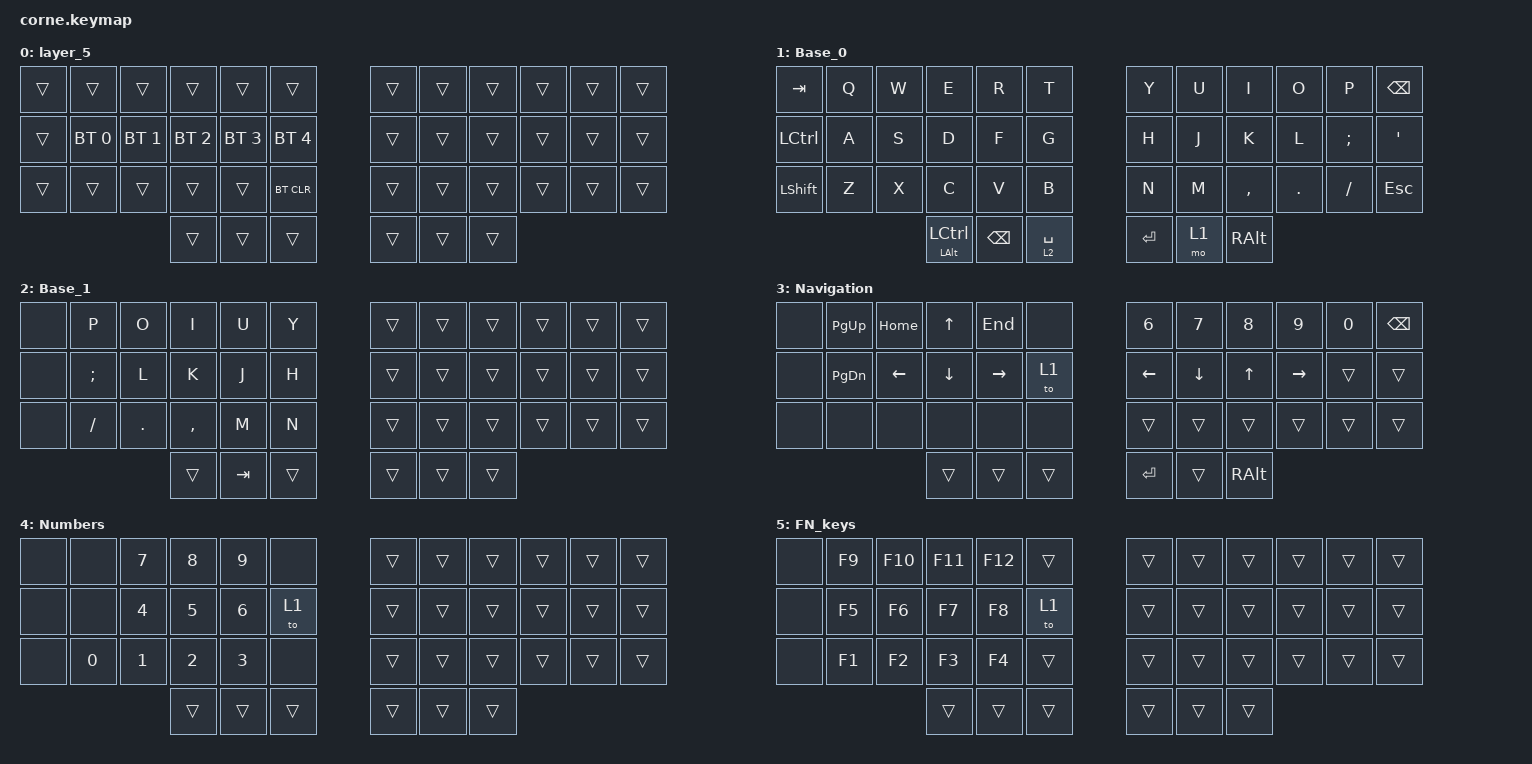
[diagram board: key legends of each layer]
/*
 * Copyright (c) 2020 The ZMK Contributors
 *
 * SPDX-License-Identifier: MIT
 */

#include <behaviors.dtsi>
#include <dt-bindings/zmk/bt.h>
#include <dt-bindings/zmk/keys.h>

/ {
    combos {
        compatible = "zmk,combos";

        new_combo1 {
            bindings = <&kp ENTER>;
            key-positions = <14 15>;
        };

        new_combo2 {
            bindings = <&sk LEFT_SHIFT>;
            key-positions = <15 16>;
        };

        new_combo3 {
            bindings = <&sk RIGHT_CONTROL>;
            key-positions = <13 16>;
        };

        new_combo4 {
            bindings = <&sk LEFT_ALT>;
            key-positions = <3 4>;
        };

        new_combo5 {
            bindings = <&kp LEFT_GUI>;
            key-positions = <3 2>;
        };

        new_combo6 {
            bindings = <&trans>;
            key-positions = <1 4>;
        };
    };

    behaviors {
        alt_ctrl: alt_ctrl {
            compatible = "zmk,behavior-hold-tap";
            label = "ALT_CTRL";
            bindings =
                <&sk>,
                <&sk>;

            #binding-cells = <2>;
            tapping-term-ms = <200>;
        };
    };

    keymap {
        compatible = "zmk,keymap";

        layer_5 {
            bindings = <
&trans        &trans        &trans        &trans        &trans        &trans    &trans  &trans  &trans  &trans  &trans  &trans
&trans  &bt BT_SEL 0  &bt BT_SEL 1  &bt BT_SEL 2  &bt BT_SEL 3  &bt BT_SEL 4    &trans  &trans  &trans  &trans  &trans  &trans
&trans        &trans        &trans        &trans        &trans    &bt BT_CLR    &trans  &trans  &trans  &trans  &trans  &trans
                                          &trans        &trans        &trans    &trans  &trans  &trans
            >;
        };

        Base_0 {
            // -----------------------------------------------------------------------------------------
            // |  TAB |  Q  |  W  |  E  |  R  |  T  |   |  Y  |  U   |  I  |  O  |  P  | BKSP |
            // | CTRL |  A  |  S  |  D  |  F  |  G  |   |  H  |  J   |  K  |  L  |  ;  |  '   |
            // | SHFT |  Z  |  X  |  C  |  V  |  B  |   |  N  |  M   |  ,  |  .  |  /  | ESC  |
            //                    | GUI | LWR | SPC |   | ENT | RSE  | ALT |

            bindings = <
  &kp TAB  &kp Q  &kp W                     &kp E          &kp R        &kp T      &kp Y  &kp U      &kp I    &kp O     &kp P  &kp BSPC
&kp LCTRL  &kp A  &kp S                     &kp D          &kp F        &kp G      &kp H  &kp J      &kp K    &kp L  &kp SEMI   &kp SQT
&kp LSHFT  &kp Z  &kp X                     &kp C          &kp V        &kp B      &kp N  &kp M  &kp COMMA  &kp DOT  &kp FSLH   &kp ESC
                         &alt_ctrl LEFT_ALT LCTRL  &kp BACKSPACE  &lt 2 SPACE    &kp RET  &mo 1   &kp RALT
            >;
        };

        Base_1 {
            bindings = <
&none     &kp P    &kp O      &kp I    &kp U   &kp Y    &trans  &trans  &trans  &trans  &trans  &trans
&none  &kp SEMI    &kp L      &kp K    &kp J   &kp H    &trans  &trans  &trans  &trans  &trans  &trans
&none  &kp FSLH  &kp DOT  &kp COMMA    &kp M   &kp N    &trans  &trans  &trans  &trans  &trans  &trans
                             &trans  &kp TAB  &trans    &trans  &trans  &trans
            >;
        };

        Navigation {
            // -----------------------------------------------------------------------------------------
            // |  TAB |  1  |  2  |  3  |  4  |  5  |   |  6  |  7  |  8  |  9  |  0  | BKSP |
            // | BTCLR| BT1 | BT2 | BT3 | BT4 | BT5 |   | LFT | DWN |  UP | RGT |     |      |
            // | SHFT |     |     |     |     |     |   |     |     |     |     |     |      |
            //                    | GUI |     | SPC |   | ENT |     | ALT |

            bindings = <
&none    &kp PAGE_UP  &kp HOME    &kp UP    &kp END   &none      &kp N6    &kp N7    &kp N8     &kp N9  &kp N0  &kp BSPC
&none  &kp PAGE_DOWN  &kp LEFT  &kp DOWN  &kp RIGHT   &to 1    &kp LEFT  &kp DOWN    &kp UP  &kp RIGHT  &trans    &trans
&none          &none     &none     &none      &none   &none      &trans    &trans    &trans     &trans  &trans    &trans
                                  &trans     &trans  &trans     &kp RET    &trans  &kp RALT
            >;
        };

        Numbers {
            bindings = <
&none   &none  &kp N7        &kp N8        &kp N9   &none    &trans  &trans  &trans  &trans  &trans  &trans
&none   &none  &kp N4        &kp N5        &kp N6   &to 1    &trans  &trans  &trans  &trans  &trans  &trans
&none  &kp N0  &kp N1  &kp NUMBER_2  &kp NUMBER_3   &none    &trans  &trans  &trans  &trans  &trans  &trans
                             &trans        &trans  &trans    &trans  &trans  &trans
            >;
        };

        FN_keys {
            bindings = <
&none  &kp F9  &kp F10  &kp F11  &kp F12  &trans    &trans  &trans  &trans  &trans  &trans  &trans
&none  &kp F5   &kp F6   &kp F7   &kp F8   &to 1    &trans  &trans  &trans  &trans  &trans  &trans
&none  &kp F1   &kp F2   &kp F3   &kp F4  &trans    &trans  &trans  &trans  &trans  &trans  &trans
                         &trans   &trans  &trans    &trans  &trans  &trans
            >;
        };
    };
};
